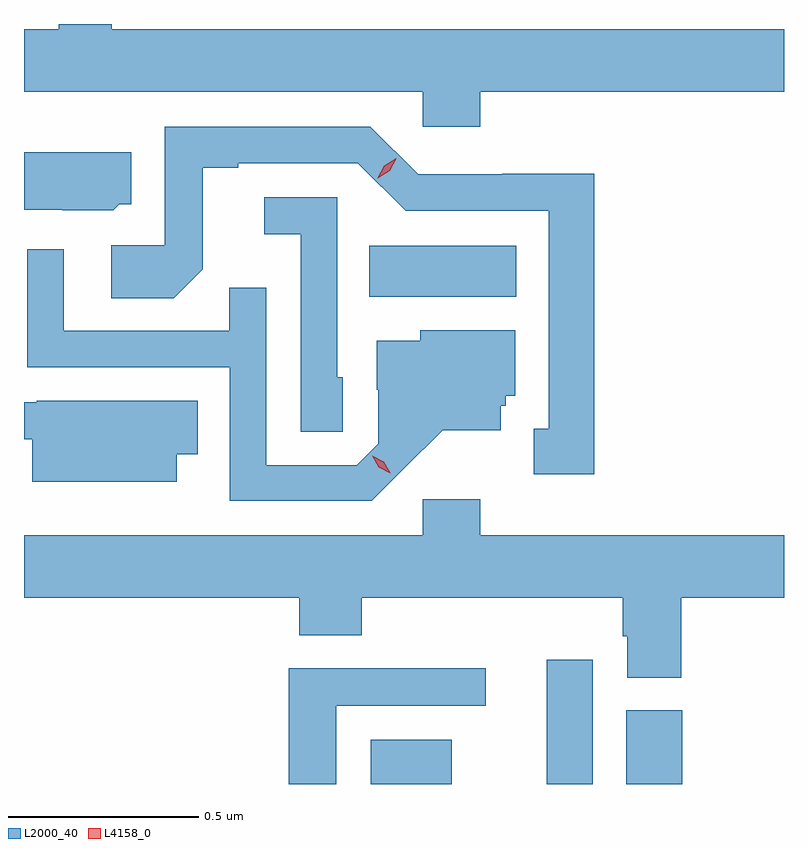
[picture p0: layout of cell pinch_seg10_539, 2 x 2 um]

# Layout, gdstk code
import gdstk
lib = gdstk.Library(unit=1e-6, precision=1e-09)
def R(c, l, rs):  # rectangles x0, y0, x1, y1
    for r in rs: c.add(gdstk.rectangle(r[:2], r[2:], *l))
def P(c, l, *ps):  # polygons
    for p in ps: c.add(gdstk.Polygon(p, *l))
L2000_40 = (2000, 40)
L4158_0 = (4158, 0)

pinch_seg10_539 = lib.new_cell('pinch_seg10_539')
R(pinch_seg10_539, L2000_40, [(218.624,1267.858,218.836,1267.975), (219.086,1267.858,219.208,1268.185), (219.296,1267.858,219.443,1268.052), (218.62,1269.14,219.007,1269.274)])
P(pinch_seg10_539, L2000_40, [(218.912,1269.68),(219.711,1269.68),(219.711,1269.844),(217.942,1269.844),(217.942,1269.858),(217.803,1269.858),(217.803,1269.844),(217.711,1269.844),(217.711,1269.68),(218.76,1269.68),(218.76,1269.587),(218.912,1269.587)],
  [(219.211,1269.464),(218.97,1269.464),(218.97,1269.462),(218.748,1269.462),(218.622,1269.588),(218.082,1269.588),(218.082,1269.276),(217.941,1269.276),(217.941,1269.136),(218.105,1269.136),(218.181,1269.212),(218.181,1269.48),(218.275,1269.48),(218.275,1269.492),(218.589,1269.492),(218.715,1269.366),(219.092,1269.366),(219.092,1268.793),(219.053,1268.793),(219.053,1268.673),(219.211,1268.673)],
  [(217.962,1269.384),(217.993,1269.384),(217.993,1269.52),(217.711,1269.52),(217.711,1269.369),(217.812,1269.369),(217.812,1269.368),(217.946,1269.368)],
  [(218.55,1268.928),(218.535,1268.928),(218.535,1269.402),(218.343,1269.402),(218.343,1269.305),(218.439,1269.305),(218.439,1268.785),(218.55,1268.785)],
  [(218.71,1268.687),(218.813,1268.789),(218.965,1268.789),(218.965,1268.853),(218.979,1268.853),(218.979,1268.88),(219.004,1268.88),(219.004,1269.052),(218.754,1269.052),(218.754,1269.025),(218.639,1269.025),(218.639,1268.896),(218.643,1268.896),(218.643,1268.754),(218.586,1268.697),(218.349,1268.697),(218.349,1269.164),(218.251,1269.164),(218.251,1269.051),(217.815,1269.051),(217.815,1269.265),(217.719,1269.265),(217.719,1268.955),(218.253,1268.955),(218.253,1268.604),(218.626,1268.604)],
  [(218.113,1268.726),(218.168,1268.726),(218.168,1268.866),(217.744,1268.866),(217.744,1268.862),(217.711,1268.862),(217.711,1268.765),(217.733,1268.765),(217.733,1268.654),(218.113,1268.654)],
  [(219.44,1268.348),(219.711,1268.348),(219.711,1268.512),(218.912,1268.512),(218.912,1268.608),(218.76,1268.608),(218.76,1268.512),(217.711,1268.512),(217.711,1268.348),(218.435,1268.348),(218.435,1268.249),(218.6,1268.249),(218.6,1268.348),(219.287,1268.348),(219.287,1268.247),(219.299,1268.247),(219.299,1268.137),(219.44,1268.137)],
  [(218.533,1268.064),(218.926,1268.064),(218.926,1268.162),(218.408,1268.162),(218.408,1267.858),(218.533,1267.858)])
P(pinch_seg10_539, L4158_0, [(218.642,1269.452),(218.642,1269.453),(218.659,1269.485),(218.691,1269.505),(218.691,1269.505),(218.691,1269.504),(218.674,1269.472),(218.642,1269.452)],
  [(218.675,1268.676),(218.644,1268.692),(218.627,1268.722),(218.627,1268.722),(218.628,1268.722),(218.658,1268.706),(218.675,1268.677),(218.675,1268.676)])

lib.write_gds('pinch_seg10_539.gds')
